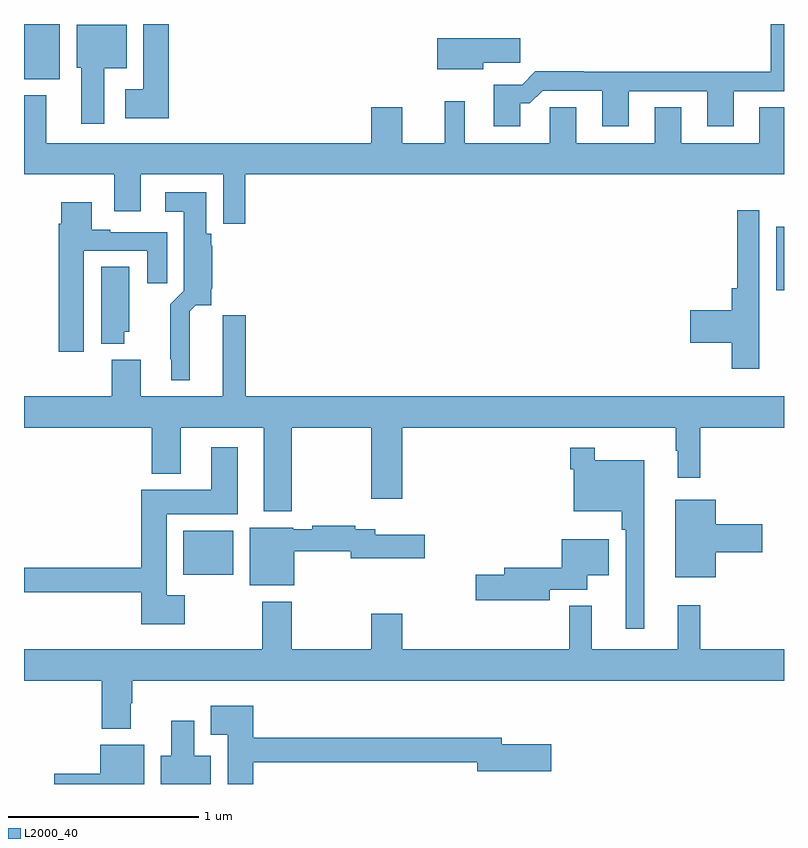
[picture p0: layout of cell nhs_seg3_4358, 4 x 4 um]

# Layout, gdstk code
import gdstk
lib = gdstk.Library(unit=1e-6, precision=1e-09)
def R(c, l, rs):  # rectangles x0, y0, x1, y1
    for r in rs: c.add(gdstk.rectangle(r[:2], r[2:], *l))
def P(c, l, *ps):  # polygons
    for p in ps: c.add(gdstk.Polygon(p, *l))
L2000_40 = (2000, 40)

nhs_seg3_4358 = lib.new_cell('nhs_seg3_4358')
R(nhs_seg3_4358, L2000_40, [(343.838,673.502,344.101,673.732), (346.959,675,347,675.334), (343,676.109,343.189,676.4)])
P(nhs_seg3_4358, L2000_40, [(345.613,675.983),(345.662,675.983),(345.729,676.05),(346.043,676.05),(346.043,675.861),(346.183,675.861),(346.183,676.047),(346.595,676.047),(346.595,675.861),(346.735,675.861),(346.735,676.047),(347,676.047),(347,676.4),(346.931,676.4),(346.931,676.148),(345.947,676.148),(345.947,676.151),(345.692,676.151),(345.622,676.081),(345.473,676.081),(345.473,675.861),(345.613,675.861)],
  [(343.763,676.4),(343.628,676.4),(343.628,676.057),(343.533,676.057),(343.533,675.905),(343.763,675.905)],
  [(343.423,676.166),(343.54,676.166),(343.54,676.396),(343.277,676.396),(343.277,676.17),(343.301,676.17),(343.301,675.876),(343.423,675.876)],
  [(345.418,676.195),(345.613,676.195),(345.613,676.324),(345.174,676.324),(345.174,676.163),(345.418,676.163)],
  [(344.165,675.608),(347,675.608),(347,675.962),(346.871,675.962),(346.871,675.772),(346.459,675.772),(346.459,675.962),(346.319,675.962),(346.319,675.772),(345.907,675.772),(345.907,675.962),(345.768,675.962),(345.768,675.772),(345.319,675.772),(345.319,675.994),(345.215,675.994),(345.215,675.772),(344.992,675.772),(344.992,675.961),(344.828,675.961),(344.828,675.772),(343.117,675.772),(343.117,676.024),(343,676.024),(343,675.608),(343.475,675.608),(343.475,675.414),(343.615,675.414),(343.615,675.608),(344.049,675.608),(344.049,675.348),(344.165,675.348)],
  [(343.873,674.888),(343.905,674.921),(343.985,674.921),(343.985,675.002),(343.991,675.008),(343.991,675.234),(343.985,675.234),(343.985,675.297),(343.96,675.297),(343.96,675.514),(343.743,675.514),(343.743,675.413),(343.841,675.413),(343.841,674.996),(343.771,674.926),(343.771,674.635),(343.775,674.635),(343.775,674.525),(343.873,674.525)],
  [(343.315,675.207),(343.649,675.207),(343.649,675.036),(343.753,675.036),(343.753,675.303),(343.453,675.303),(343.453,675.316),(343.357,675.316),(343.357,675.463),(343.196,675.463),(343.196,675.35),(343.184,675.35),(343.184,674.676),(343.315,674.676)],
  [(346.87,674.877),(346.869,674.877),(346.869,675.421),(346.753,675.421),(346.753,675.01),(346.724,675.01),(346.724,674.894),(346.506,674.894),(346.506,674.723),(346.724,674.723),(346.724,674.586),(346.87,674.586)],
  [(343.528,674.781),(343.555,674.781),(343.555,675.122),(343.406,675.122),(343.406,674.717),(343.528,674.717)],
  [(344.409,674.276),(344.828,674.276),(344.828,673.902),(344.992,673.902),(344.992,674.276),(346.431,674.276),(346.431,674.153),(346.442,674.153),(346.442,674.013),(346.559,674.013),(346.559,674.276),(347,674.276),(347,674.44),(344.168,674.44),(344.168,674.866),(344.045,674.866),(344.045,674.44),(343.615,674.44),(343.615,674.632),(343.463,674.632),(343.463,674.44),(343,674.44),(343,674.276),(343.673,674.276),(343.673,674.033),(343.825,674.033),(343.825,674.276),(344.261,674.276),(344.261,673.835),(344.409,673.835)],
  [(343.846,673.393),(343.75,673.393),(343.75,673.82),(344.125,673.82),(344.125,674.173),(343.985,674.173),(343.985,673.948),(343.616,673.948),(343.616,673.538),(343,673.538),(343,673.41),(343.616,673.41),(343.616,673.241),(343.846,673.241)],
  [(346.264,674.104),(346.003,674.104),(346.003,674.17),(345.874,674.17),(345.874,674.057),(345.894,674.057),(345.894,673.835),(346.147,673.835),(346.147,673.739),(346.167,673.739),(346.167,673.218),(346.264,673.218)],
  [(346.642,673.619),(346.885,673.619),(346.885,673.766),(346.642,673.766),(346.642,673.897),(346.427,673.897),(346.427,673.487),(346.642,673.487)],
  [(344.422,673.624),(344.72,673.624),(344.72,673.589),(345.109,673.589),(345.109,673.711),(344.848,673.711),(344.848,673.74),(344.744,673.74),(344.744,673.76),(344.518,673.76),(344.518,673.74),(344.418,673.74),(344.418,673.75),(344.189,673.75),(344.189,673.445),(344.422,673.445)],
  [(345.766,673.422),(345.964,673.422),(345.964,673.499),(346.078,673.499),(346.078,673.687),(345.83,673.687),(345.83,673.538),(345.527,673.538),(345.527,673.502),(345.378,673.502),(345.378,673.367),(345.766,673.367)],
  [(343.561,672.824),(343.569,672.824),(343.569,672.944),(347,672.944),(347,673.108),(346.559,673.108),(346.559,673.342),(346.442,673.342),(346.442,673.108),(345.989,673.108),(345.989,673.337),(345.871,673.337),(345.871,673.108),(344.992,673.108),(344.992,673.297),(344.828,673.297),(344.828,673.108),(344.409,673.108),(344.409,673.36),(344.254,673.36),(344.254,673.108),(343,673.108),(343,672.944),(343.409,672.944),(343.409,672.692),(343.561,672.692)],
  [(344.207,672.514),(345.386,672.514),(345.386,672.467),(345.775,672.467),(345.775,672.609),(345.514,672.609),(345.514,672.643),(344.207,672.643),(344.207,672.811),(343.982,672.811),(343.982,672.659),(344.072,672.659),(344.072,672.4),(344.207,672.4)],
  [(343.984,672.55),(343.897,672.55),(343.897,672.733),(343.775,672.733),(343.775,672.55),(343.721,672.55),(343.721,672.4),(343.984,672.4)],
  [(343.633,672.607),(343.4,672.607),(343.4,672.455),(343.158,672.455),(343.158,672.4),(343.633,672.4)])

lib.write_gds('nhs_seg3_4358.gds')
